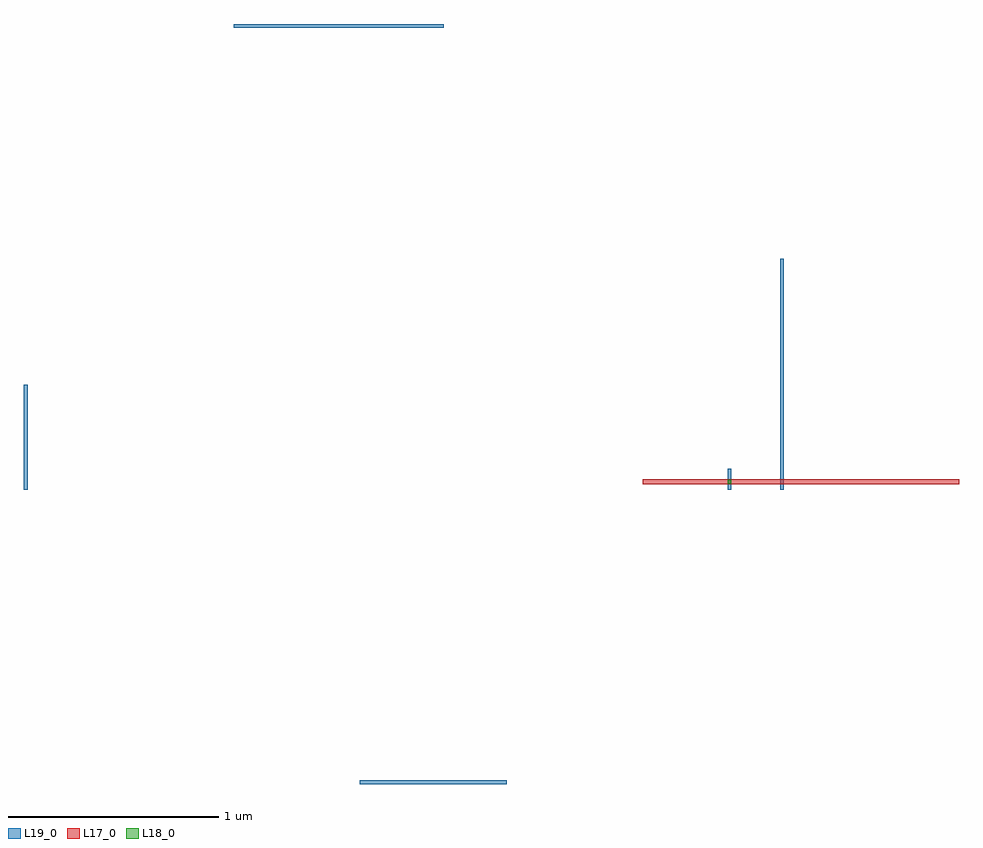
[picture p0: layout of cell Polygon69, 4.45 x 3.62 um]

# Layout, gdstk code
import gdstk
lib = gdstk.Library(unit=1e-6, precision=2.5e-10)
def R(c, l, rs):  # rectangles x0, y0, x1, y1
    for r in rs: c.add(gdstk.rectangle(r[:2], r[2:], *l))
L17_0 = (17, 0)
L18_0 = (18, 0)
L19_0 = (19, 0)

polygon69 = lib.new_cell('Polygon69')
R(polygon69, L17_0, [(3.147,1.627,4.653,1.651)])
R(polygon69, L18_0, [(3.55,1.63,3.568,1.648)])
R(polygon69, L19_0, [(1.8,0.2,2.5,0.218), (0.2,1.6,0.218,2.1), (3.55,1.6,3.568,1.7), (3.8,1.6,3.818,2.7), (1.2,3.8,2.2,3.818)])

lib.write_gds('Polygon69.gds')
